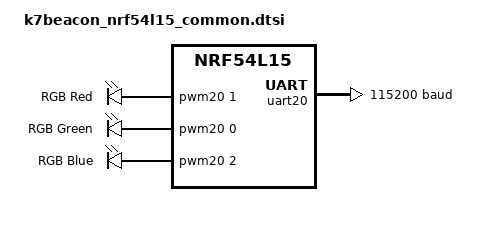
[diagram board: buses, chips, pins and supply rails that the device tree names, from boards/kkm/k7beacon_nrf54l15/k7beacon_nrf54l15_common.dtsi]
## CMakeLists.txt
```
cmake_minimum_required(VERSION 3.20.0)

# The K7 board definition is out-of-tree, shipped inside this project at
# boards/kkm/k7beacon_nrf54l15/. Register it so Zephyr/west can resolve the
# board target k7beacon_nrf54l15/nrf54l15/cpuapp.
list(APPEND BOARD_ROOT ${CMAKE_CURRENT_SOURCE_DIR})

find_package(Zephyr REQUIRED HINTS $ENV{ZEPHYR_BASE})

project(k7beacon)

target_sources(app PRIVATE src/main.c)

# Shared Aetherfield 802.15.4 protocol header (repo-root include/ dir).
target_include_directories(app PRIVATE
    ${CMAKE_CURRENT_SOURCE_DIR}/../../include
)
```

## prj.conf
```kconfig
# ============================================================================
# K7 Beacon (nRF54L15) — production (low-power) configuration
#
# Default state is System OFF (~0.8 uA); the KEY button wakes a short active
# session. Logging/console are OFF here to save power — build with debug.conf
# layered on top for bring-up (see Makefile `make build DEBUG=1`).
# ============================================================================

# --- 802.15.4 radio (raw mode), Aetherfield protocol v1 ---
CONFIG_NETWORKING=y
CONFIG_IEEE802154=y
CONFIG_IEEE802154_RAW_MODE=y
CONFIG_NET_PKT_TIMESTAMP=y
# We only receive during short active windows, so a small RX pool is plenty.
CONFIG_NRF_802154_RX_BUFFERS=16

# --- RGB LED on PWM (indication only) + button GPIO ---
CONFIG_PWM=y
CONFIG_LED=y
CONFIG_LED_PWM=y
CONFIG_GPIO=y

# --- Deep sleep: System OFF via sys_poweroff(), button wake ---
CONFIG_POWEROFF=y

# --- Console / logging OFF for production power ---
CONFIG_SERIAL=n
CONFIG_UART_CONSOLE=n
CONFIG_CONSOLE=n
CONFIG_LOG=n
CONFIG_BOOT_BANNER=n
CONFIG_NCS_BOOT_BANNER=n

# --- Power: DCDC regulator ---
CONFIG_REGULATOR=y

# --- Peripherals the K7 does NOT have / does not use ---
CONFIG_DK_LIBRARY=n
CONFIG_I2C=n
CONFIG_SENSOR=n
CONFIG_AUDIO=n
CONFIG_AUDIO_DMIC=n
CONFIG_INPUT=n
```

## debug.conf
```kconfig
# ============================================================================
# K7 Beacon — bring-up / debug overlay (layer on top of prj.conf)
#
#   make build DEBUG=1     # or: west build ... -- -DEXTRA_CONF_FILE=debug.conf
#
# Re-enables console + log output over SEGGER RTT (same J-Link, no UART wiring).
# Do NOT ship with this: RTT logging keeps the CPU busy and raises idle current.
# ============================================================================

CONFIG_CONSOLE=y
CONFIG_USE_SEGGER_RTT=y
CONFIG_RTT_CONSOLE=y
CONFIG_LOG=y
CONFIG_LOG_BACKEND_RTT=y
CONFIG_LOG_BACKEND_UART=n
```

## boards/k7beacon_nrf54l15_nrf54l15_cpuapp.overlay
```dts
/*
 * Copyright (c) 2026
 * SPDX-License-Identifier: Apache-2.0
 *
 * Application overlay for the K7 Beacon. Auto-applied by Zephyr when building
 * this app for board k7beacon_nrf54l15/nrf54l15/cpuapp (filename matches the
 * normalised board target).
 *
 * The RGB LED, clocks, radio and partitions live in the board definition
 * (boards/kkm/k7beacon_nrf54l15/). This overlay carries the board-specific
 * peripherals the application owns and will extend: the user button now, and
 * scaffolding for the accelerometer / FRAM / NFC to be brought up later.
 */

#include <zephyr/dt-bindings/gpio/gpio.h>
#include <zephyr/dt-bindings/input/input-event-codes.h>

/ {
	/*
	 * "KEY" tactile switch on P0.02 -> GND. Internal pull-up, active-low.
	 * Reserved for NFC field-detect / user input work.
	 */
	buttons: buttons {
		compatible = "gpio-keys";

		usr_btn: usr-btn {
			gpios = <&gpio0 2 (GPIO_PULL_UP | GPIO_ACTIVE_LOW)>;
			label = "KEY";
			zephyr,code = <INPUT_KEY_0>;
		};
	};

	aliases {
		sw0 = &usr_btn;
	};
};

/*
 * ----------------------------------------------------------------------------
 * Future peripherals — uncomment and complete when bringing these up.
 *
 * LIS2DW12 accelerometer (I2C):  SDA = P1.04, SCL = P1.08, INT1 = P1.06,
 *                                INT2 = P1.07.  SA0 sets the 7-bit address
 *                                (0x18 if SA0=0, 0x19 if SA0=1 — check R6/R7).
 *
 *   &pinctrl {
 *       i2c21_default: i2c21_default {
 *           group1 {
 *               psels = <NRF_PSEL(TWIM_SDA, 1, 4)>,
 *                       <NRF_PSEL(TWIM_SCL, 1, 8)>;
 *           };
 *       };
 *       i2c21_sleep: i2c21_sleep {
 *           group1 {
 *               psels = <NRF_PSEL(TWIM_SDA, 1, 4)>,
 *                       <NRF_PSEL(TWIM_SCL, 1, 8)>;
 *               low-power-enable;
 *           };
 *       };
 *   };
 *
 *   &i2c21 {
 *       status = "okay";
 *       pinctrl-0 = <&i2c21_default>;
 *       pinctrl-1 = <&i2c21_sleep>;
 *       pinctrl-names = "default", "sleep";
 *       lis2dw12: lis2dw12@19 {
 *           compatible = "st,lis2dw12";
 *           reg = <0x19>;
 *           irq-gpios = <&gpio1 6 GPIO_ACTIVE_HIGH>;
 *       };
 *   };
 *   (also set CONFIG_I2C=y, CONFIG_SENSOR=y, CONFIG_LIS2DW12=y)
 *
 * FRAM FM25W16A on the QSPI pins (P2.00..P2.05) — st/cypress SPI FRAM via spi00.
 * NFC antenna on P1.02 (NFC1) / P1.03 (NFC2) — enable &nfct and nfct pin protect.
 * ----------------------------------------------------------------------------
 */
```

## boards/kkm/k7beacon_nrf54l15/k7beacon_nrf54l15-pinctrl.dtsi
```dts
/*
 * Copyright (c) 2026
 * SPDX-License-Identifier: Apache-2.0
 *
 * K7 Beacon pin control.
 *
 * RGB LED (common anode -> VDDS, so driven active-low via inverted PWM):
 *   Green = P1.10  (PWM20 OUT0)
 *   Red   = P1.11  (PWM20 OUT1)
 *   Blue  = P1.12  (PWM20 OUT2)
 * All three are P1 (LP-domain) pins, reachable by PWM20.
 *
 * UART20 (optional debug, RXD/TXD on the test points):
 *   TXD = P2.09, RXD = P2.07
 */

&pinctrl {
	/omit-if-no-ref/ pwm20_default: pwm20_default {
		group1 {
			psels = <NRF_PSEL(PWM_OUT0, 1, 10)>,
				<NRF_PSEL(PWM_OUT1, 1, 11)>,
				<NRF_PSEL(PWM_OUT2, 1, 12)>;
		};
	};

	/omit-if-no-ref/ pwm20_sleep: pwm20_sleep {
		group1 {
			psels = <NRF_PSEL(PWM_OUT0, 1, 10)>,
				<NRF_PSEL(PWM_OUT1, 1, 11)>,
				<NRF_PSEL(PWM_OUT2, 1, 12)>;
			low-power-enable;
		};
	};

	/omit-if-no-ref/ uart20_default: uart20_default {
		group1 {
			psels = <NRF_PSEL(UART_TX, 2, 9)>;
		};
		group2 {
			psels = <NRF_PSEL(UART_RX, 2, 7)>;
			bias-pull-up;
		};
	};

	/omit-if-no-ref/ uart20_sleep: uart20_sleep {
		group1 {
			psels = <NRF_PSEL(UART_TX, 2, 9)>,
				<NRF_PSEL(UART_RX, 2, 7)>;
			low-power-enable;
		};
	};
};
```

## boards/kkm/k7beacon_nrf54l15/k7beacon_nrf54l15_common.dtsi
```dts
/*
 * Copyright (c) 2026
 * SPDX-License-Identifier: Apache-2.0
 */

#include "k7beacon_nrf54l15-pinctrl.dtsi"
#include <zephyr/dt-bindings/pwm/pwm.h>

/ {
	/*
	 * Single RGB LED (LTST-C19HE1WT-H), common-anode tied to VDDS.
	 * Driving a channel low turns it on, so PWM uses INVERTED polarity:
	 * brightness 0 % = fully off, 100 % = fully on.
	 *
	 * led_set_brightness() index follows child declaration order:
	 *   index 0 = red, 1 = green, 2 = blue.
	 */
	pwmleds: pwmleds {
		compatible = "pwm-leds";

		led_red: led_red {
			pwms = <&pwm20 1 PWM_MSEC(20) PWM_POLARITY_INVERTED>;
			label = "RGB Red";
		};

		led_green: led_green {
			pwms = <&pwm20 0 PWM_MSEC(20) PWM_POLARITY_INVERTED>;
			label = "RGB Green";
		};

		led_blue: led_blue {
			pwms = <&pwm20 2 PWM_MSEC(20) PWM_POLARITY_INVERTED>;
			label = "RGB Blue";
		};
	};

	aliases {
		led0 = &led_red;
		led-red = &led_red;
		led-green = &led_green;
		led-blue = &led_blue;
		pwm-led0 = &led_red;
	};
};

&uart20 {
	current-speed = <115200>;
	pinctrl-0 = <&uart20_default>;
	pinctrl-1 = <&uart20_sleep>;
	pinctrl-names = "default", "sleep";
};

&pwm20 {
	pinctrl-0 = <&pwm20_default>;
	pinctrl-1 = <&pwm20_sleep>;
	pinctrl-names = "default", "sleep";
};
```

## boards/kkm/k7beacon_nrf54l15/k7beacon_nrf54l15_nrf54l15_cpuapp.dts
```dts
/*
 * Copyright (c) 2026
 * SPDX-License-Identifier: Apache-2.0
 */

/dts-v1/;
#include <nordic/nrf54l15_cpuapp.dtsi>
#include "k7beacon_nrf54l15_common.dtsi"

/ {
	model = "KKM K7 Beacon nRF54L15";
	compatible = "kkm,k7beacon-nrf54l15-cpuapp";

	chosen {
		zephyr,sram = &cpuapp_sram;
		zephyr,flash = &cpuapp_rram;
		zephyr,flash-controller = &rram_controller;
		zephyr,console = &uart20;
		zephyr,shell-uart = &uart20;
		nordic,rpc-uart = &uart20;
		zephyr,ieee802154 = &ieee802154;
	};
};

&cpuapp_sram {
	status = "okay";
};

&grtc {
	owned-channels = <0 1 2 3 4 5 6 7 8 9 10 11>;
	/* Channels 7-11 reserved for Zero Latency IRQs, 3-4 for FLPR */
	child-owned-channels = <3 4 7 8 9 10 11>;
	status = "okay";
};

&clock {
	status = "okay";
};

&uart20 {
	status = "okay";
};

&pwm20 {
	status = "okay";
};

&gpio0 {
	status = "okay";
};

&gpio1 {
	status = "okay";
};

&gpio2 {
	status = "okay";
};

&gpiote20 {
	status = "okay";
};

&gpiote30 {
	status = "okay";
};

&regulators {
	status = "okay";
};

&vregmain {
	status = "okay";
	regulator-initial-mode = <NRF5X_REG_MODE_DCDC>;
};

/*
 * Crystal load capacitors. The K7 fits a 32.768 kHz (CL 7 pF) LFXO and a
 * 32 MHz (CL 8 pF) HFXO with no discrete load caps, so the SoC internal
 * load caps are matched to each crystal's spec.
 */
&lfxo {
	load-capacitors = "internal";
	load-capacitance-femtofarad = <7000>;
	status = "okay";
};

&hfxo {
	load-capacitors = "internal";
	load-capacitance-femtofarad = <8000>;
	status = "okay";
};

&ieee802154 {
	status = "okay";
};

&temp {
	status = "okay";
};

&radio {
	status = "okay";
};

/*
 * No MCUboot / fixed-partition table is defined: the application links to the
 * base of cpuapp_rram and boots directly after a J-Link flash. Add a
 * partition map here later if you adopt MCUboot / DFU.
 */
```

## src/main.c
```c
/*
 * K7 Beacon (nRF54L15) - Aetherfield AURA firmware (low-power build)
 *
 * Power model for a non-rechargeable ~800 mAh lanyard tag:
 *
 *   - Default state is System OFF (~0.8 uA). The radio receiver is NOT left
 *     on continuously (continuous RX is ~3.2 mA and would flatten the cell in
 *     ~10 days).
 *   - The KEY button (P0.02) is the wake source. Pressing it boots the chip
 *     and starts a short ACTIVE SESSION.
 *   - During an active session the tag beacons its presence (protocol v1) and
 *     optionally listens for indication / LED commands. The RGB LED is used
 *     for brief indication only.
 *   - After K7_ACTIVE_WINDOW_S with no button press and no received command,
 *     the tag returns to System OFF.
 *
 * Average current is therefore dominated by how often/long the tag is woken,
 * not by an always-on radio. See the notes block at the bottom of the file.
 *
 * SPDX-License-Identifier: Apache-2.0
 */

#include <zephyr/kernel.h>
#include <zephyr/device.h>
#include <zephyr/drivers/gpio.h>
#include <zephyr/drivers/led.h>
#include <zephyr/sys/poweroff.h>
#include <zephyr/logging/log.h>
#include <zephyr/net/ieee802154_radio.h>
#include <zephyr/net/net_pkt.h>
#include <zephyr/net/net_if.h>
#include <nrf_802154.h>
#include <nrfx.h>
#include <string.h>

#include <aura_radio.h>

LOG_MODULE_REGISTER(k7_aura, LOG_LEVEL_INF);

/* ----------------------------- tunables ---------------------------------- */

/* How long to stay awake after a wake / last activity before deep sleep. */
#define K7_ACTIVE_WINDOW_S      15

/* Beacon cadence while active. */
#define K7_BEACON_INTERVAL_MS   1000

/* TX power. The shared protocol default (AURA_TX_POWER_DBM) is +8 dBm / 10 mA.
 * For a tag that lives near a gateway, 0 dBm roughly halves TX energy and is
 * plenty of range. Raise if you need it. */
#define K7_TX_POWER_DBM         0

/* Brief LED indication on wake (ms). Kept short on purpose - the LED is the
 * single most power-hungry thing on the board if left on. */
#define K7_WAKE_BLINK_MS        80

/* ----------------------------- RGB LED ----------------------------------- */

#define LED_RED   0
#define LED_GREEN 1
#define LED_BLUE  2

static const struct device *const leds = DEVICE_DT_GET(DT_NODELABEL(pwmleds));

static void set_rgb(uint8_t r, uint8_t g, uint8_t b)
{
	if (!device_is_ready(leds)) {
		return;
	}
	led_set_brightness(leds, LED_RED,   (uint8_t)((r * 100U) / 255U));
	led_set_brightness(leds, LED_GREEN, (uint8_t)((g * 100U) / 255U));
	led_set_brightness(leds, LED_BLUE,  (uint8_t)((b * 100U) / 255U));
}

static void led_indicate(uint8_t r, uint8_t g, uint8_t b, uint32_t ms)
{
	set_rgb(r, g, b);
	k_msleep(ms);
	set_rgb(0, 0, 0);
}

/* ----------------------------- button ------------------------------------ */
/* The button is driven directly (not via the input subsystem) so the same pin
 * can be reconfigured as the System OFF wake source. */
static const struct gpio_dt_spec btn = GPIO_DT_SPEC_GET(DT_ALIAS(sw0), gpios);

static bool button_pressed(void)
{
	return gpio_pin_get_dt(&btn) > 0; /* active-low handled by DT flags */
}

/* --------------------------- activity clock ------------------------------ */
/* Updated whenever something happens that should keep the tag awake. */
static int64_t last_activity_ms;

static void mark_active(void)
{
	last_activity_ms = k_uptime_get();
}

/* ------------------------------- radio ----------------------------------- */

static const struct device *const radio_dev =
	DEVICE_DT_GET(DT_CHOSEN(zephyr_ieee802154));
static struct ieee802154_radio_api *radio_api;
static uint16_t g_band_addr = AURA_ADDR_UNASSIGNED;

#define AURA_BEACON_FRAME_LEN (AURA_MHR_LEN + AURA_HDR_LEN + AURA_BEACON_BODY_LEN)

static void send_beacon(uint8_t *mac_seq, uint8_t *app_seq)
{
	static uint8_t frame[AURA_BEACON_FRAME_LEN] __aligned(4);
	uint8_t *p = aura_mhr_write(frame, (*mac_seq)++,
				    AURA_ADDR_BROADCAST, g_band_addr);

	aura_hdr_write(p, AURA_MSG_BEACON, (*app_seq)++);
	p += AURA_HDR_LEN;
	p[0] = AURA_CAPS_K7;
	p[1] = AURA_BATTERY_UNKNOWN;
	p[2] = 0; /* gesture (none) */
	p[3] = 0; /* flags */

	struct net_pkt *pkt = net_pkt_alloc(K_NO_WAIT);

	if (!pkt) {
		return;
	}
	if (net_pkt_alloc_buffer_raw(pkt, AURA_BEACON_FRAME_LEN, K_NO_WAIT) < 0) {
		net_pkt_unref(pkt);
		return;
	}
	net_pkt_cursor_init(pkt);
	if (net_pkt_write(pkt, frame, AURA_BEACON_FRAME_LEN) != 0) {
		net_pkt_unref(pkt);
		return;
	}

	struct net_buf *frag = pkt->buffer;
	int err = radio_api->tx(radio_dev, IEEE802154_TX_MODE_DIRECT, pkt, frag);

	if (err) {
		LOG_WRN("beacon tx failed: %d", err);
	}
	net_pkt_unref(pkt);
}

/* Raw-mode L2 hooks. */
enum net_verdict ieee802154_handle_ack(struct net_if *iface, struct net_pkt *pkt)
{
	ARG_UNUSED(iface);
	ARG_UNUSED(pkt);
	return NET_DROP;
}

int net_recv_data(struct net_if *iface, struct net_pkt *pkt)
{
	ARG_UNUSED(iface);

	if (!pkt || net_pkt_is_empty(pkt)) {
		return -EINVAL;
	}

	uint8_t *psdu = net_buf_frag_last(pkt->buffer)->data;
	size_t length = net_buf_frags_len(pkt->buffer);
	uint16_t src, dst;

	if (length < AURA_MHR_LEN + AURA_HDR_LEN ||
	    !aura_mhr_parse(psdu, (uint8_t)length, &src, &dst)) {
		goto out;
	}
	if (dst != AURA_ADDR_BROADCAST && dst != g_band_addr) {
		goto out;
	}

	uint8_t seq;
	int type = aura_hdr_parse(psdu + AURA_MHR_LEN,
				  (uint8_t)(length - AURA_MHR_LEN), &seq);

	if (type < 0) {
		goto out;
	}

	if (type == AURA_MSG_CMD) {
		static int last_cmd_seq = -1;

		if ((int)seq == last_cmd_seq) {
			goto out;
		}
		last_cmd_seq = seq;

		const uint8_t *pos = psdu + AURA_MHR_LEN + AURA_HDR_LEN;
		const uint8_t *end = psdu + length;
		struct aura_tlv t;

		while ((pos = aura_tlv_next(pos, end, &t)) != NULL) {
			if (t.tag == AURA_TLV_LED && t.len == AURA_TLV_LED_LEN) {
				/* Indication only: show the commanded colour
				 * briefly, then let it fall back to off. */
				led_indicate(t.value[2], t.value[3],
					     t.value[4], 150);
				mark_active(); /* a command keeps us awake */
			}
		}
	}

out:
	net_pkt_unref(pkt);
	return 0;
}

static void radio_setup(void)
{
	radio_api = (struct ieee802154_radio_api *)radio_dev->api;
	__ASSERT_NO_MSG(radio_api);

	g_band_addr = aura_band_addr_from_deviceid(NRF_FICR->INFO.DEVICEID[0],
						   NRF_FICR->INFO.DEVICEID[1]);

	const uint8_t pan_le[2] = { AURA_PAN_ID & 0xFF, AURA_PAN_ID >> 8 };
	const uint8_t short_le[2] = {
		(uint8_t)(g_band_addr & 0xFF), (uint8_t)(g_band_addr >> 8)
	};
	const uint8_t ext_addr[8] = {
		(uint8_t)(g_band_addr & 0xFF), (uint8_t)(g_band_addr >> 8),
		0xAE, 0x7F, 0xAE, 0x7F, 0xAE, 0x7F
	};

	nrf_802154_pan_id_set(pan_le);
	nrf_802154_short_address_set(short_le);
	nrf_802154_extended_address_set(ext_addr);

	struct ieee802154_config config = { .promiscuous = false };

	radio_api->configure(radio_dev, IEEE802154_CONFIG_PROMISCUOUS, &config);
	nrf_802154_promiscuous_set(false);
	radio_api->set_channel(radio_dev, AURA_CHANNEL_DEFAULT);
	nrf_802154_tx_power_set(K7_TX_POWER_DBM);

#if !IS_ENABLED(CONFIG_NRF_802154_SERIALIZATION)
	nrf_802154_auto_ack_set(false);
#endif
}

/* ---------------------------- deep sleep --------------------------------- */

static void enter_deep_sleep(void)
{
	/* Everything off, then arm the button as the wake source and power down.
	 * sys_poweroff() does not return; the chip cold-boots on the next press. */
	set_rgb(0, 0, 0);

	if (radio_api != NULL) {
		radio_api->stop(radio_dev); /* drop the receiver before powering down */
	}

	gpio_pin_configure_dt(&btn, GPIO_INPUT);
	gpio_pin_interrupt_configure_dt(&btn, GPIO_INT_LEVEL_ACTIVE);

	LOG_INF("entering System OFF (press KEY to wake)");
	sys_poweroff();
}

/* ------------------------------- main ------------------------------------ */

int main(void)
{
	LOG_INF("K7 wake: starting active session");

	(void)gpio_pin_configure_dt(&btn, GPIO_INPUT);

	/* Brief green blink to confirm wake (indication only). */
	led_indicate(0, 255, 0, K7_WAKE_BLINK_MS);

	if (!device_is_ready(radio_dev)) {
		LOG_ERR("radio not ready");
		enter_deep_sleep();
	}

	radio_setup();

	/* Receiver on for the (short) session so indication/LED commands and
	 * beacon TX both work. It is stopped again in enter_deep_sleep(). */
	radio_api->start(radio_dev);

	uint8_t mac_seq = 0;
	uint8_t app_seq = 0;
	bool last_btn = false;

	mark_active();

	while (1) {
		send_beacon(&mac_seq, &app_seq);

		/* Button press (edge) extends the active window. */
		bool now_btn = button_pressed();

		if (now_btn && !last_btn) {
			mark_active();
		}
		last_btn = now_btn;

		if (k_uptime_get() - last_activity_ms >=
		    (K7_ACTIVE_WINDOW_S * 1000)) {
			break;
		}

		/* Idle until the next beacon. The CPU is in WFI here; if RX is
		 * enabled the radio stays in receive across this gap. */
		k_msleep(K7_BEACON_INTERVAL_MS);
	}

	enter_deep_sleep();
	return 0; /* unreachable */
}

/*
 * ----------------------------------------------------------------------------
 * Power budget (nRF54L15 datasheet figures @ 3.0 V, 800 mAh cell)
 *
 *   System OFF (button wake) .............. ~0.8 uA
 *   System ON idle (RTC, RAM retained) .... ~2.6 uA
 *   Radio RX (listening) .................. ~3.2 mA
 *   Radio TX @ +8 dBm ..................... ~10 mA   (~4-5 mA @ 0 dBm)
 *
 *   1-year target average current ......... ~91 uA
 *   3-year (factory claim) ................ ~30 uA
 *
 * This firmware spends almost the entire year in System OFF (~0.8 uA), which
 * is ~7 mAh/year - negligible. Battery life is then set by how much you wake:
 *
 *   - An active session keeps the receiver on (~3.2 mA) for
 *     K7_ACTIVE_WINDOW_S seconds per wake.
 *   - Example: sessions of 15 s, 20 times/day
 *       = 20 * 15 s * 3.2 mA = ~0.27 mAh/day = ~97 mAh/year  -> >1 yr easily,
 *     and the ~7 mAh/year System OFF floor is in the noise.
 *
 * Knobs, cheapest first:
 *   1. Shorten K7_ACTIVE_WINDOW_S (linear saving on every wake).
 *   2. Lower K7_TX_POWER_DBM (already 0 dBm here).
 *   3. Keep CONFIG_LOG/serial off in production (see prj.conf vs debug.conf).
 *   4. For a true TX-only build (never receives), replace radio start() with
 *      per-beacon transmit + nrf_802154_sleep() so the receiver is never on.
 *   5. For a periodic heartbeat instead of button-only wake, use a GRTC/RTC
 *      timer wake (System ON idle, ~2.6 uA) rather than System OFF.
 * ----------------------------------------------------------------------------
 */
```
